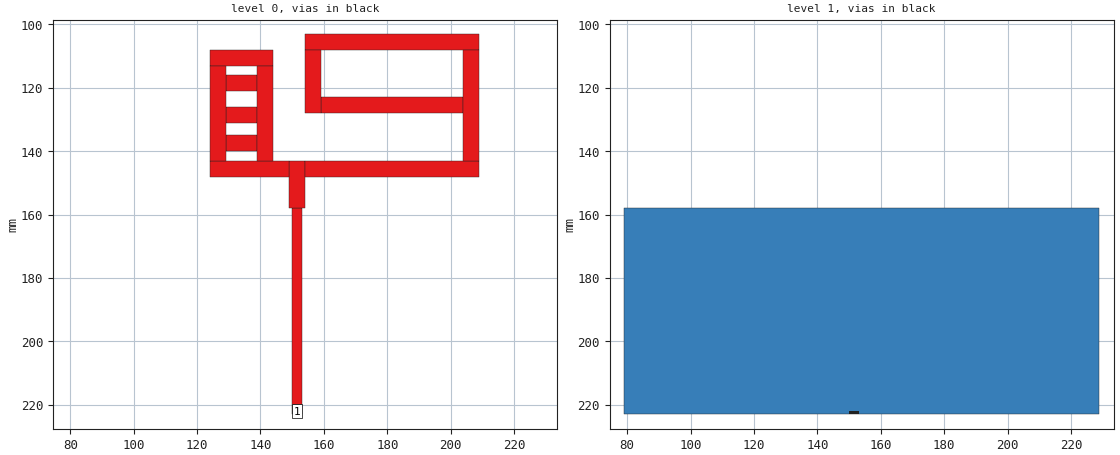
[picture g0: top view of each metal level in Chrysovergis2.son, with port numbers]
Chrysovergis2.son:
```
FTYP SONPROJ 3 ! Sonnet Project File
VER 11.54
HEADER
LIC Sonn.1.12345
DAT 05/21/2016 20:37:33
BUILT_BY_CREATED xgeom 11.54 05/15/2016 15:53:35
BUILT_BY_SAVED xgeom 11.54
MDATE 05/21/2016 20:37:33
HDATE 05/21/2016 20:37:33
END HEADER
DIM
FREQ GHZ
IND NH
LNG MM
ANG DEG
CON /OH
CAP PF
RES OH
END DIM
FREQ
ABS 0.1 1.0 
END FREQ
CONTROL
ABS
OPTIONS  -d 
SPEED 0
CACHE_ABS 1
TARG_ABS 300
Q_ACC N
END CONTROL
GEO
TMET "Free Space" 0 FREESPACE 376.7303136 0 0 0
BMET "Free Space" 0 FREESPACE 376.7303136 0 0 0
BOX 2 300 300 600 600 20 0
      20 1 1 0 0 0 0 "Air"
      1.6 4.2 1 0.02 0 0 0 "FR4"
      20 1 1 0 0 0 0 "Air"
POR1 STD
POLY 8 1
0
1 50 0 0 0 151.5000009 222.0000007 
NUM 16
VIA POLYGON
0 5 -1 N 8 1 1 100 100 0 0 0 Y
TOLEVEL 1
150.0000009 222.0000007
153.0000009 222.0000007
153.0000009 223.0000007
150.0000009 223.0000007
150.0000009 222.0000007
END
0 5 -1 N 29 1 1 100 100 0 0 0 Y
150.0000074 158.0000077
153.0000074 158.0000077
153.0000074 223.0000077
150.0000074 223.0000077
150.0000074 158.0000077
END
0 5 -1 N 223 1 1 100 100 0 0 0 Y
149.0000153 143.000006
154.0000153 143.000006
154.0000153 158.000006
149.0000153 158.000006
149.0000153 143.000006
END
0 5 -1 N 227 1 1 100 100 0 0 0 Y
154.0000191 143.000006
209.0000191 143.000006
209.0000191 148.000006
154.0000191 148.000006
154.0000191 143.000006
END
0 5 -1 N 231 1 1 100 100 0 0 0 Y
154.0000191 103.000006
209.0000191 103.000006
209.0000191 108.000006
154.0000191 108.000006
154.0000191 103.000006
END
0 5 -1 N 241 1 1 100 100 0 0 0 Y
158.9999871 122.9999988
203.9999871 122.9999988
203.9999871 127.9999988
158.9999871 127.9999988
158.9999871 122.9999988
END
0 5 -1 N 249 1 1 100 100 0 0 0 Y
203.9999861 108.0000016
208.9999861 108.0000016
208.9999861 143.0000016
203.9999861 143.0000016
203.9999861 108.0000016
END
0 5 -1 N 251 1 1 100 100 0 0 0 Y
153.9999825 108.0000042
158.9999825 108.0000042
158.9999825 128.0000042
153.9999825 128.0000042
153.9999825 108.0000042
END
0 5 -1 N 257 1 1 100 100 0 0 0 Y
123.9999841 142.9999962
148.9999841 142.9999962
148.9999841 147.9999962
123.9999841 147.9999962
123.9999841 142.9999962
END
0 5 -1 N 260 1 1 100 100 0 0 0 Y
123.9999841 107.9999946
143.9999841 107.9999946
143.9999841 112.9999946
123.9999841 112.9999946
123.9999841 107.9999946
END
0 5 -1 N 275 1 1 100 100 0 0 0 Y
128.9999853 126.0000038
138.9999853 126.0000038
138.9999853 131.0000038
128.9999853 131.0000038
128.9999853 126.0000038
END
0 5 -1 N 276 1 1 100 100 0 0 0 Y
128.9999853 116.0000038
138.9999853 116.0000038
138.9999853 121.0000038
128.9999853 121.0000038
128.9999853 116.0000038
END
0 5 -1 N 277 1 1 100 100 0 0 0 Y
128.9999853 135.0000038
138.9999853 135.0000038
138.9999853 140.0000038
128.9999853 140.0000038
128.9999853 135.0000038
END
0 5 -1 N 282 1 1 100 100 0 0 0 Y
138.9999878 112.999995
143.9999878 112.999995
143.9999878 142.999995
138.9999878 142.999995
138.9999878 112.999995
END
0 5 -1 N 284 1 1 100 100 0 0 0 Y
123.9999878 112.999995
128.9999878 112.999995
128.9999878 142.999995
123.9999878 142.999995
123.9999878 112.999995
END
1 5 -1 N 68 1 1 100 100 0 0 0 Y
78.99999713 157.9999938
228.9999971 157.9999938
228.9999971 222.9999938
78.99999713 222.9999938
78.99999713 157.9999938
END
END GEO
OPT
MAX 100
VARS
END OPT
VARSWP
END VARSWP
QSG
IMPORT NO
EXTRA_METAL NO
UNITS YES
ALIGN NO
REF NO
VIEW_RES YES
METALS NO
USED YES
END QSG
```
